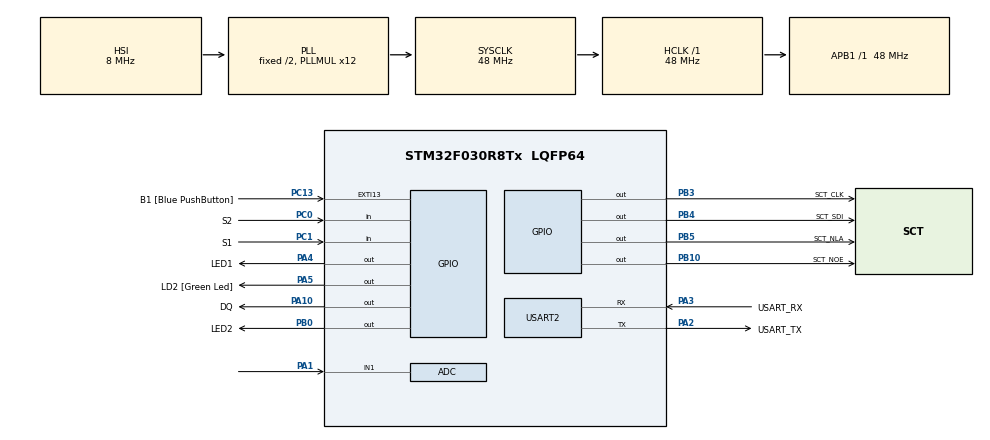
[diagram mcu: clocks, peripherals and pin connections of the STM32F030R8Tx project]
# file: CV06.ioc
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ADC.ContinuousConvMode=ENABLE
ADC.Overrun=ADC_OVR_DATA_OVERWRITTEN
ADC.Resolution=ADC_RESOLUTION_10B
Mcu.Family=STM32F0
Mcu.Name=STM32F030R8Tx
Mcu.Package=LQFP64
PA1.Mode=IN1
PA1.Signal=ADC_IN1
PA10.GPIO_Label=DQ
PA10.GPIO_ModeDefaultOutputPP=GPIO_MODE_OUTPUT_OD
PA10.GPIO_PuPd=GPIO_NOPULL
PA10.PinState=GPIO_PIN_SET
PA10.Signal=GPIO_Output
PA13.GPIO_Label=TMS
PA13.Mode=Serial_Wire
PA13.Signal=SYS_SWDIO
PA14.GPIO_Label=TCK
PA14.Mode=Serial_Wire
PA14.Signal=SYS_SWCLK
PA2.GPIO_Label=USART_TX
PA2.GPIO_Mode=GPIO_MODE_AF_PP
PA2.GPIO_PuPd=GPIO_NOPULL
PA2.GPIO_Speed=GPIO_SPEED_FREQ_LOW
PA2.Mode=Asynchronous
PA2.Signal=USART2_TX
PA3.GPIO_Label=USART_RX
PA3.GPIO_Mode=GPIO_MODE_AF_PP
PA3.GPIO_PuPd=GPIO_NOPULL
PA3.GPIO_Speed=GPIO_SPEED_FREQ_LOW
PA3.Mode=Asynchronous
PA3.Signal=USART2_RX
PA4.GPIO_Label=LED1
PA4.Signal=GPIO_Output
PA5.GPIO_Label=LD2 [Green Led]
PA5.GPIO_Mode=GPIO_MODE_OUTPUT_PP
PA5.GPIO_PuPd=GPIO_NOPULL
PA5.GPIO_Speed=GPIO_SPEED_FREQ_LOW
PA5.Signal=GPIO_Output
PB0.GPIO_Label=LED2
PB0.Signal=GPIO_Output
PB10.GPIO_Label=SCT_NOE
PB10.Signal=GPIO_Output
PB3.GPIO_Label=SCT_CLK
PB3.Signal=GPIO_Output
PB4.GPIO_Label=SCT_SDI
PB4.Signal=GPIO_Output
PB5.GPIO_Label=SCT_NLA
PB5.Signal=GPIO_Output
PC0.GPIO_Label=S2
PC0.GPIO_PuPd=GPIO_PULLUP
PC0.Signal=GPIO_Input
PC1.GPIO_Label=S1
PC1.GPIO_PuPd=GPIO_PULLUP
PC1.Signal=GPIO_Input
PC13.GPIO_Label=B1 [Blue PushButton]
PC13.GPIO_ModeDefaultEXTI=GPIO_MODE_IT_FALLING
PC13.Signal=GPXTI13
PC14-OSC32_IN.Mode=LSE-External-Oscillator
PC14-OSC32_IN.Signal=RCC_OSC32_IN
PC15-OSC32_OUT.Mode=LSE-External-Oscillator
PC15-OSC32_OUT.Signal=RCC_OSC32_OUT
PF0-OSC_IN.Mode=HSE-External-Clock-Source
PF0-OSC_IN.Signal=RCC_OSC_IN
PF1-OSC_OUT.Signal=RCC_OSC_OUT
ProjectManager.HeapSize=0x200
ProjectManager.StackSize=0x400
ProjectManager.TargetToolchain=STM32CubeIDE
RCC.AHBFreq_Value=48000000
RCC.APB1Freq_Value=48000000
RCC.APB1TimFreq_Value=48000000
RCC.HCLKFreq_Value=48000000
RCC.PLLMUL=RCC_PLL_MUL12
RCC.SYSCLKFreq_VALUE=48000000
RCC.SYSCLKSource=RCC_SYSCLKSOURCE_PLLCLK
USART2.VirtualMode-Asynchronous=VM_ASYNC
board=NUCLEO-F030R8

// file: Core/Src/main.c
/* USER CODE BEGIN Header */
/**
  ******************************************************************************
  * @file           : main.c
  * @brief          : Main program body
  ******************************************************************************
  * @attention
  *
  * Copyright (c) 2024 STMicroelectronics.
  * All rights reserved.
  *
  * This software is licensed under terms that can be found in the LICENSE file
  * in the root directory of this software component.
  * If no LICENSE file comes with this software, it is provided AS-IS.
  *
  ******************************************************************************
  */
/* USER CODE END Header */
#include "main.h"

/* USER CODE BEGIN Includes */
#include "sct.h"
#include "1wire.h"
/* USER CODE END Includes */

/* USER CODE BEGIN PD */
#define CONVERT_T_DELAY 750
/* USER CODE END PD */

ADC_HandleTypeDef hadc;

UART_HandleTypeDef huart2;

void SystemClock_Config(void);
static void MX_GPIO_Init(void);
static void MX_USART2_UART_Init(void);
static void MX_ADC_Init(void);

int main(void)
{

  /* MCU Configuration--------------------------------------------------------*/

  /* Reset of all peripherals, Initializes the Flash interface and the Systick. */
  HAL_Init();

  /* Configure the system clock */
  SystemClock_Config();

  /* Initialize all configured peripherals */
  MX_GPIO_Init();
  MX_USART2_UART_Init();
  MX_ADC_Init();
  /* USER CODE BEGIN 2 */
  OWInit();
  sct_init();
  HAL_ADCEx_Calibration_Start(&hadc);
  HAL_ADC_Start(&hadc);

  /* USER CODE END 2 */

  /* Infinite loop */
  while (1)
  {

	  /* USER CODE BEGIN 3 */

	  static int16_t temp;
	  static uint32_t ADC_value;
	  static enum {DS18B20,NTC} state = DS18B20;

	  static const int16_t ntc_lookup[] = {
		#include "data.dlm"
	  };

	  if (state == DS18B20) {
		  OWConvertAll();
		  HAL_Delay(CONVERT_T_DELAY);
		  OWReadTemperature(&temp);
	  }
	  else if (state == NTC) {
		  ADC_value = HAL_ADC_GetValue(&hadc);
		  HAL_Delay(50);
	  }

	  if (HAL_GPIO_ReadPin(S1_GPIO_Port, S1_Pin) == 0) {
		  state = DS18B20;
	  }

	  if (HAL_GPIO_ReadPin(S2_GPIO_Port, S2_Pin) == 0) {
		  state = NTC;
	  }

	  switch (state) {
	  case DS18B20:
		  sct_value(temp / 10, 0);
		  HAL_GPIO_WritePin(LED1_GPIO_Port, LED1_Pin, 0);
		  HAL_GPIO_WritePin(LED2_GPIO_Port, LED2_Pin, 1);
		  break;

	  case NTC:
		  sct_value(ntc_lookup[ADC_value], 0);
		  HAL_GPIO_WritePin(LED2_GPIO_Port, LED2_Pin, 0);
		  HAL_GPIO_WritePin(LED1_GPIO_Port, LED1_Pin, 1);
		  break;
	  }
	}
  /* USER CODE END 3 */
}

void SystemClock_Config(void)
{
  RCC_OscInitTypeDef RCC_OscInitStruct = {0};
  RCC_ClkInitTypeDef RCC_ClkInitStruct = {0};

  /** Initializes the RCC Oscillators according to the specified parameters
  * in the RCC_OscInitTypeDef structure.
  */
  RCC_OscInitStruct.OscillatorType = RCC_OSCILLATORTYPE_HSI|RCC_OSCILLATORTYPE_HSI14;
  RCC_OscInitStruct.HSIState = RCC_HSI_ON;
  RCC_OscInitStruct.HSI14State = RCC_HSI14_ON;
  RCC_OscInitStruct.HSICalibrationValue = RCC_HSICALIBRATION_DEFAULT;
  RCC_OscInitStruct.HSI14CalibrationValue = 16;
  RCC_OscInitStruct.PLL.PLLState = RCC_PLL_ON;
  RCC_OscInitStruct.PLL.PLLSource = RCC_PLLSOURCE_HSI;
  RCC_OscInitStruct.PLL.PLLMUL = RCC_PLL_MUL12;
  RCC_OscInitStruct.PLL.PREDIV = RCC_PREDIV_DIV1;
  if (HAL_RCC_OscConfig(&RCC_OscInitStruct) != HAL_OK)
  {
    Error_Handler();
  }

  /** Initializes the CPU, AHB and APB buses clocks
  */
  RCC_ClkInitStruct.ClockType = RCC_CLOCKTYPE_HCLK|RCC_CLOCKTYPE_SYSCLK
                              |RCC_CLOCKTYPE_PCLK1;
  RCC_ClkInitStruct.SYSCLKSource = RCC_SYSCLKSOURCE_PLLCLK;
  RCC_ClkInitStruct.AHBCLKDivider = RCC_SYSCLK_DIV1;
  RCC_ClkInitStruct.APB1CLKDivider = RCC_HCLK_DIV1;

  if (HAL_RCC_ClockConfig(&RCC_ClkInitStruct, FLASH_LATENCY_1) != HAL_OK)
  {
    Error_Handler();
  }
}

static void MX_ADC_Init(void)
{

  ADC_ChannelConfTypeDef sConfig = {0};

  /** Configure the global features of the ADC (Clock, Resolution, Data Alignment and number of conversion)
  */
  hadc.Instance = ADC1;
  hadc.Init.ClockPrescaler = ADC_CLOCK_ASYNC_DIV1;
  hadc.Init.Resolution = ADC_RESOLUTION_10B;
  hadc.Init.DataAlign = ADC_DATAALIGN_RIGHT;
  hadc.Init.ScanConvMode = ADC_SCAN_DIRECTION_FORWARD;
  hadc.Init.EOCSelection = ADC_EOC_SINGLE_CONV;
  hadc.Init.LowPowerAutoWait = DISABLE;
  hadc.Init.LowPowerAutoPowerOff = DISABLE;
  hadc.Init.ContinuousConvMode = ENABLE;
  hadc.Init.DiscontinuousConvMode = DISABLE;
  hadc.Init.ExternalTrigConv = ADC_SOFTWARE_START;
  hadc.Init.ExternalTrigConvEdge = ADC_EXTERNALTRIGCONVEDGE_NONE;
  hadc.Init.DMAContinuousRequests = DISABLE;
  hadc.Init.Overrun = ADC_OVR_DATA_OVERWRITTEN;
  if (HAL_ADC_Init(&hadc) != HAL_OK)
  {
    Error_Handler();
  }

  /** Configure for the selected ADC regular channel to be converted.
  */
  sConfig.Channel = ADC_CHANNEL_1;
  sConfig.Rank = ADC_RANK_CHANNEL_NUMBER;
  sConfig.SamplingTime = ADC_SAMPLETIME_1CYCLE_5;
  if (HAL_ADC_ConfigChannel(&hadc, &sConfig) != HAL_OK)
  {
    Error_Handler();
  }

}

static void MX_USART2_UART_Init(void)
{

  huart2.Instance = USART2;
  huart2.Init.BaudRate = 38400;
  huart2.Init.WordLength = UART_WORDLENGTH_8B;
  huart2.Init.StopBits = UART_STOPBITS_1;
  huart2.Init.Parity = UART_PARITY_NONE;
  huart2.Init.Mode = UART_MODE_TX_RX;
  huart2.Init.HwFlowCtl = UART_HWCONTROL_NONE;
  huart2.Init.OverSampling = UART_OVERSAMPLING_16;
  huart2.Init.OneBitSampling = UART_ONE_BIT_SAMPLE_DISABLE;
  huart2.AdvancedInit.AdvFeatureInit = UART_ADVFEATURE_NO_INIT;
  if (HAL_UART_Init(&huart2) != HAL_OK)
  {
    Error_Handler();
  }

}

static void MX_GPIO_Init(void)
{
  GPIO_InitTypeDef GPIO_InitStruct = {0};

  /* GPIO Ports Clock Enable */
  __HAL_RCC_GPIOC_CLK_ENABLE();
  __HAL_RCC_GPIOF_CLK_ENABLE();
  __HAL_RCC_GPIOA_CLK_ENABLE();
  __HAL_RCC_GPIOB_CLK_ENABLE();

  /*Configure GPIO pin Output Level */
  HAL_GPIO_WritePin(GPIOA, LED1_Pin|LD2_Pin, GPIO_PIN_RESET);

  /*Configure GPIO pin Output Level */
  HAL_GPIO_WritePin(GPIOB, LED2_Pin|SCT_NOE_Pin|SCT_CLK_Pin|SCT_SDI_Pin
                          |SCT_NLA_Pin, GPIO_PIN_RESET);

  /*Configure GPIO pin Output Level */
  HAL_GPIO_WritePin(DQ_GPIO_Port, DQ_Pin, GPIO_PIN_SET);

  /*Configure GPIO pin : B1_Pin */
  GPIO_InitStruct.Pin = B1_Pin;
  GPIO_InitStruct.Mode = GPIO_MODE_IT_FALLING;
  GPIO_InitStruct.Pull = GPIO_NOPULL;
  HAL_GPIO_Init(B1_GPIO_Port, &GPIO_InitStruct);

  /*Configure GPIO pins : S2_Pin S1_Pin */
  GPIO_InitStruct.Pin = S2_Pin|S1_Pin;
  GPIO_InitStruct.Mode = GPIO_MODE_INPUT;
  GPIO_InitStruct.Pull = GPIO_PULLUP;
  HAL_GPIO_Init(GPIOC, &GPIO_InitStruct);

  /*Configure GPIO pins : LED1_Pin LD2_Pin */
  GPIO_InitStruct.Pin = LED1_Pin|LD2_Pin;
  GPIO_InitStruct.Mode = GPIO_MODE_OUTPUT_PP;
  GPIO_InitStruct.Pull = GPIO_NOPULL;
  GPIO_InitStruct.Speed = GPIO_SPEED_FREQ_LOW;
  HAL_GPIO_Init(GPIOA, &GPIO_InitStruct);

  /*Configure GPIO pins : LED2_Pin SCT_NOE_Pin SCT_CLK_Pin SCT_SDI_Pin
                           SCT_NLA_Pin */
  GPIO_InitStruct.Pin = LED2_Pin|SCT_NOE_Pin|SCT_CLK_Pin|SCT_SDI_Pin
                          |SCT_NLA_Pin;
  GPIO_InitStruct.Mode = GPIO_MODE_OUTPUT_PP;
  GPIO_InitStruct.Pull = GPIO_NOPULL;
  GPIO_InitStruct.Speed = GPIO_SPEED_FREQ_LOW;
  HAL_GPIO_Init(GPIOB, &GPIO_InitStruct);

  /*Configure GPIO pin : DQ_Pin */
  GPIO_InitStruct.Pin = DQ_Pin;
  GPIO_InitStruct.Mode = GPIO_MODE_OUTPUT_OD;
  GPIO_InitStruct.Pull = GPIO_NOPULL;
  GPIO_InitStruct.Speed = GPIO_SPEED_FREQ_LOW;
  HAL_GPIO_Init(DQ_GPIO_Port, &GPIO_InitStruct);

}

void Error_Handler(void)
{
  __disable_irq();
  while (1)
  {
  }
}
